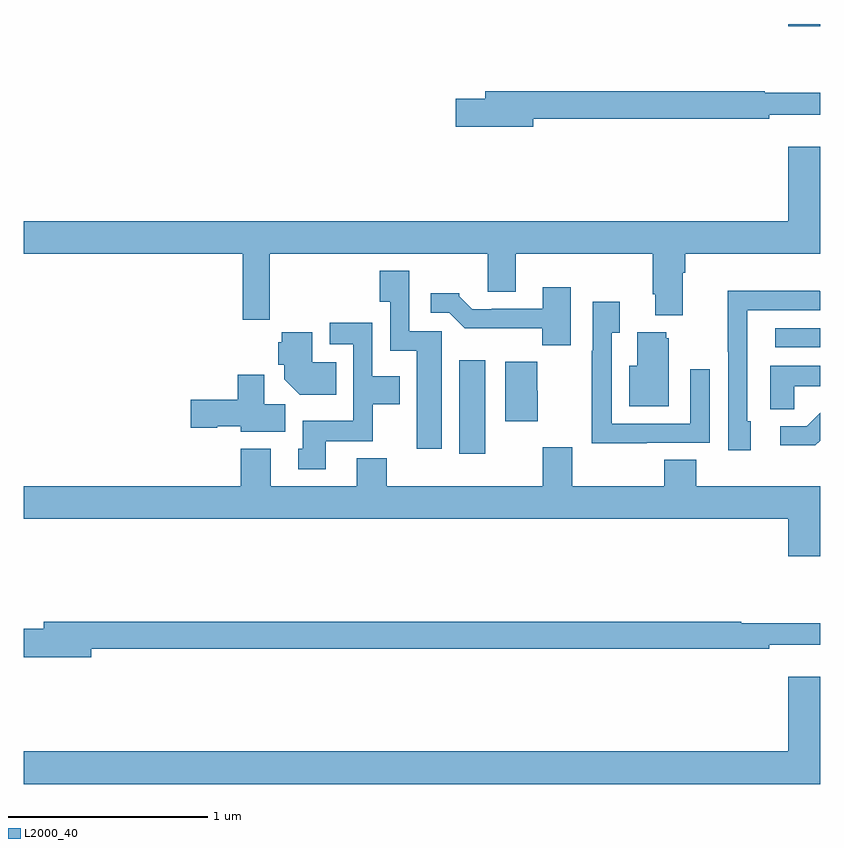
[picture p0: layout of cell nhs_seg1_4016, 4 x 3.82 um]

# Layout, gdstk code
import gdstk
lib = gdstk.Library(unit=1e-6, precision=1e-09)
def R(c, l, rs):  # rectangles x0, y0, x1, y1
    for r in rs: c.add(gdstk.rectangle(r[:2], r[2:], *l))
def P(c, l, *ps):  # polygons
    for p in ps: c.add(gdstk.Polygon(p, *l))
L2000_40 = (2000, 40)

nhs_seg1_4016 = lib.new_cell('nhs_seg1_4016')
R(nhs_seg1_4016, L2000_40, [(331.187,572.04,331.318,572.509), (332.775,572.574,333,572.67), (332.84,574.188,333,574.199)])
P(nhs_seg1_4016, L2000_40, [(331.558,573.724),(332.744,573.724),(332.744,573.743),(333,573.743),(333,573.853),(332.723,573.853),(332.723,573.86),(331.319,573.86),(331.319,573.824),(331.17,573.824),(331.17,573.682),(331.558,573.682)],
  [(330.236,573.044),(331.331,573.044),(331.331,572.854),(331.471,572.854),(331.471,573.044),(332.159,573.044),(332.159,572.842),(332.171,572.842),(332.171,572.735),(332.311,572.735),(332.311,572.948),(332.324,572.948),(332.324,573.044),(333,573.044),(333,573.583),(332.84,573.583),(332.84,573.208),(329,573.208),(329,573.044),(330.1,573.044),(330.1,572.712),(330.236,572.712)],
  [(331.099,572.655),(330.936,572.655),(330.936,572.959),(330.788,572.959),(330.788,572.803),(330.84,572.803),(330.84,572.558),(330.974,572.558),(330.974,572.064),(331.099,572.064)],
  [(331.747,572.875),(331.607,572.875),(331.607,572.769),(331.351,572.769),(331.351,572.766),(331.252,572.766),(331.188,572.83),(331.188,572.845),(331.044,572.845),(331.044,572.748),(331.137,572.748),(331.216,572.67),(331.605,572.67),(331.605,572.585),(331.747,572.585)],
  [(332.653,572.202),(332.634,572.202),(332.634,572.76),(333,572.76),(333,572.856),(332.999,572.856),(332.999,572.858),(332.536,572.858),(332.536,572.551),(332.538,572.551),(332.538,572.058),(332.653,572.058)],
  [(332.129,572.094),(332.445,572.094),(332.445,572.464),(332.349,572.464),(332.349,572.19),(331.953,572.19),(331.953,572.647),(331.993,572.647),(331.993,572.803),(331.857,572.803),(331.857,572.558),(331.852,572.558),(331.852,572.093),(332.129,572.093)],
  [(330.517,572.102),(330.753,572.102),(330.753,572.288),(330.889,572.288),(330.889,572.428),(330.75,572.428),(330.75,572.698),(330.537,572.698),(330.537,572.589),(330.654,572.589),(330.654,572.206),(330.401,572.206),(330.401,572.064),(330.377,572.064),(330.377,571.962),(330.517,571.962)],
  [(332.239,572.619),(332.228,572.619),(332.228,572.65),(332.081,572.65),(332.081,572.482),(332.042,572.482),(332.042,572.279),(332.239,572.279)],
  [(330.569,572.5),(330.448,572.5),(330.448,572.65),(330.296,572.65),(330.296,572.601),(330.278,572.601),(330.278,572.487),(330.308,572.487),(330.308,572.414),(330.386,572.336),(330.569,572.336)],
  [(331.582,572.355),(331.58,572.355),(331.58,572.503),(331.418,572.503),(331.418,572.202),(331.582,572.202)],
  [(332.871,572.378),(333,572.378),(333,572.482),(332.75,572.482),(332.75,572.263),(332.871,572.263)],
  [(330.313,572.288),(330.208,572.288),(330.208,572.437),(330.074,572.437),(330.074,572.312),(329.838,572.312),(329.838,572.17),(329.97,572.17),(329.97,572.177),(330.09,572.177),(330.09,572.15),(330.313,572.15)],
  [(333,572.104),(333,572.245),(332.933,572.178),(332.799,572.178),(332.799,572.081),(332.977,572.081)],
  [(333,571.876),(332.378,571.876),(332.378,572.009),(332.218,572.009),(332.218,571.876),(331.755,571.876),(331.755,572.071),(331.607,572.071),(331.607,571.876),(330.824,571.876),(330.824,572.017),(330.671,572.017),(330.671,571.876),(330.241,571.876),(330.241,572.065),(330.089,572.065),(330.089,571.876),(329,571.876),(329,571.712),(332.84,571.712),(332.84,571.524),(333,571.524)],
  [(329.338,571.06),(332.744,571.06),(332.744,571.079),(333,571.079),(333,571.189),(332.603,571.189),(332.603,571.196),(329.099,571.196),(329.099,571.16),(329,571.16),(329,571.018),(329.338,571.018)],
  [(333,570.919),(332.84,570.919),(332.84,570.544),(329,570.544),(329,570.38),(333,570.38)])

lib.write_gds('nhs_seg1_4016.gds')
